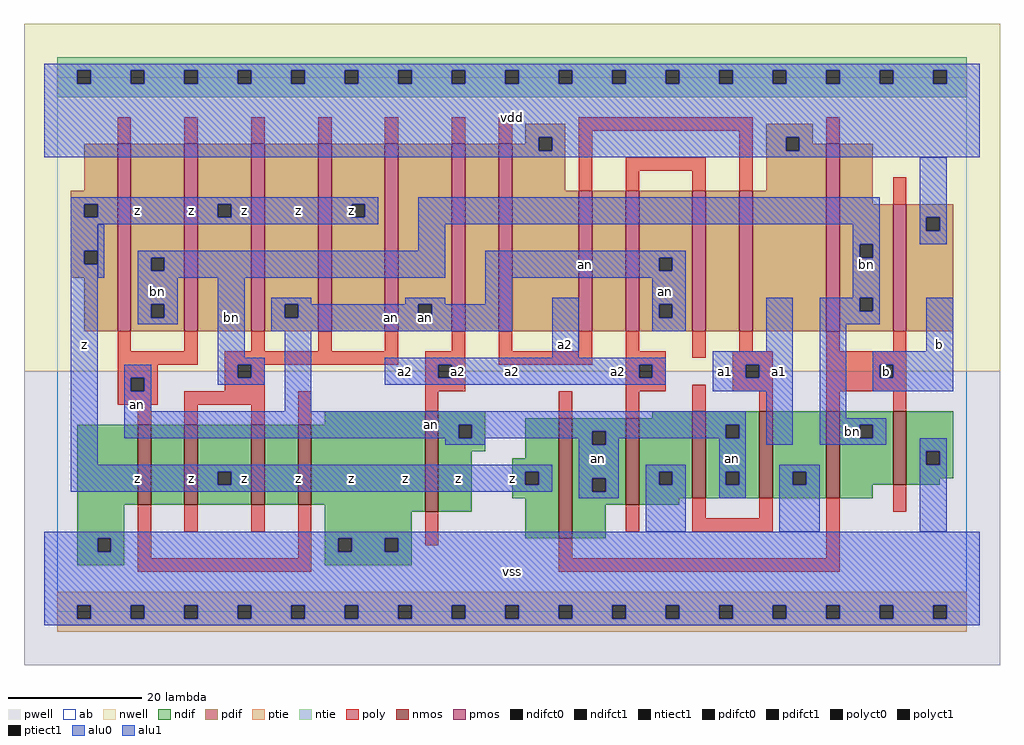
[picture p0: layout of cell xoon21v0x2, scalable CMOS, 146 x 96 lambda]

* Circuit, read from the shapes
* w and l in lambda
.subckt xoon21v0x2 a1 a2 an b bn vdd vss z
M1 n1 an vss vss nfet w=12 l=2
M2 z bn n1 vss nfet w=12 l=2
M3 n2 bn z vss nfet w=12 l=2
M4 vss an n2 vss nfet w=12 l=2
M5 an a2 vss vss nfet w=15 l=2
M6 an b z vss nfet w=18 l=2
M7 vss a2 an vss nfet w=13 l=2
M8 an a1 vss vss nfet w=13 l=2 m=2
M9 bn b vss vss nfet w=13 l=2
M10 vss b bn vss nfet w=11 l=2
M11 bn an z vdd pfet w=28 l=2 m=2
M12 an bn z vdd pfet w=28 l=2 m=3
M13 n3 a2 an vdd pfet w=28 l=2
M14 vdd a1 n3 vdd pfet w=28 l=2
M15 n4 a1 vdd vdd pfet w=21 l=2
M16 an a2 n4 vdd pfet w=21 l=2
M17 n5 a2 an vdd pfet w=21 l=2
M18 vdd a1 n5 vdd pfet w=21 l=2
M19 bn b vdd vdd pfet w=28 l=2
M20 vdd b bn vdd pfet w=19 l=2
.ends

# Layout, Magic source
magic
tech scmos
<< ab >>
rect 0 0 136 80
<< nwell >>
rect -5 36 141 88
<< pwell >>
rect -5 -8 141 36
<< poly >>
rect 9 70 11 74
rect 19 70 21 74
rect 29 70 31 74
rect 39 70 41 74
rect 49 70 51 74
rect 59 70 61 74
rect 66 70 68 74
rect 78 72 104 74
rect 78 63 80 72
rect 85 66 97 68
rect 85 63 87 66
rect 95 63 97 66
rect 102 63 104 72
rect 115 70 117 74
rect 125 61 127 65
rect 9 39 11 42
rect 19 39 21 42
rect 29 39 31 42
rect 39 39 41 42
rect 49 39 51 42
rect 59 39 61 42
rect 9 37 21 39
rect 25 37 51 39
rect 55 37 61 39
rect 66 39 68 42
rect 78 39 80 42
rect 66 37 80 39
rect 85 39 87 42
rect 85 37 91 39
rect 95 38 97 42
rect 102 39 104 42
rect 115 39 117 42
rect 125 39 127 42
rect 9 35 15 37
rect 9 33 11 35
rect 13 33 15 35
rect 25 35 27 37
rect 29 35 31 37
rect 25 33 31 35
rect 55 35 57 37
rect 59 35 61 37
rect 55 33 61 35
rect 85 35 87 37
rect 89 35 91 37
rect 85 33 91 35
rect 101 37 107 39
rect 101 35 103 37
rect 105 35 107 37
rect 9 31 15 33
rect 19 31 31 33
rect 12 28 14 31
rect 19 28 21 31
rect 29 28 31 31
rect 36 28 38 33
rect 55 30 57 33
rect 12 8 14 16
rect 19 12 21 16
rect 29 12 31 16
rect 36 8 38 16
rect 12 6 38 8
rect 75 29 77 33
rect 85 29 87 33
rect 95 30 97 34
rect 101 33 107 35
rect 105 30 107 33
rect 115 37 127 39
rect 115 35 123 37
rect 125 35 127 37
rect 115 33 127 35
rect 115 30 117 33
rect 125 30 127 33
rect 55 10 57 15
rect 85 12 87 16
rect 95 14 97 17
rect 105 14 107 17
rect 95 12 107 14
rect 75 8 77 11
rect 115 8 117 17
rect 125 15 127 19
rect 75 6 117 8
<< ndif >>
rect 40 28 55 30
rect 3 16 12 28
rect 14 16 19 28
rect 21 21 29 28
rect 21 19 24 21
rect 26 19 29 21
rect 21 16 29 19
rect 31 16 36 28
rect 38 16 55 28
rect 3 11 10 16
rect 3 9 6 11
rect 8 9 10 11
rect 3 7 10 9
rect 40 15 55 16
rect 57 28 64 30
rect 89 29 95 30
rect 57 26 60 28
rect 62 26 64 28
rect 57 24 64 26
rect 57 15 62 24
rect 70 23 75 29
rect 68 21 75 23
rect 68 19 70 21
rect 72 19 75 21
rect 68 17 75 19
rect 40 11 53 15
rect 40 9 42 11
rect 44 9 49 11
rect 51 9 53 11
rect 70 11 75 17
rect 77 27 85 29
rect 77 25 80 27
rect 82 25 85 27
rect 77 20 85 25
rect 77 18 80 20
rect 82 18 85 20
rect 77 16 85 18
rect 87 21 95 29
rect 87 19 90 21
rect 92 19 95 21
rect 87 17 95 19
rect 97 28 105 30
rect 97 26 100 28
rect 102 26 105 28
rect 97 21 105 26
rect 97 19 100 21
rect 102 19 105 21
rect 97 17 105 19
rect 107 21 115 30
rect 107 19 110 21
rect 112 19 115 21
rect 107 17 115 19
rect 117 28 125 30
rect 117 26 120 28
rect 122 26 125 28
rect 117 19 125 26
rect 127 24 134 30
rect 127 22 130 24
rect 132 22 134 24
rect 127 20 134 22
rect 127 19 132 20
rect 117 17 122 19
rect 87 16 93 17
rect 77 11 82 16
rect 40 7 53 9
<< pdif >>
rect 70 71 76 73
rect 70 70 72 71
rect 4 63 9 70
rect 2 61 9 63
rect 2 59 4 61
rect 6 59 9 61
rect 2 54 9 59
rect 2 52 4 54
rect 6 52 9 54
rect 2 50 9 52
rect 4 42 9 50
rect 11 53 19 70
rect 11 51 14 53
rect 16 51 19 53
rect 11 46 19 51
rect 11 44 14 46
rect 16 44 19 46
rect 11 42 19 44
rect 21 61 29 70
rect 21 59 24 61
rect 26 59 29 61
rect 21 42 29 59
rect 31 46 39 70
rect 31 44 34 46
rect 36 44 39 46
rect 31 42 39 44
rect 41 61 49 70
rect 41 59 44 61
rect 46 59 49 61
rect 41 42 49 59
rect 51 46 59 70
rect 51 44 54 46
rect 56 44 59 46
rect 51 42 59 44
rect 61 42 66 70
rect 68 69 72 70
rect 74 69 76 71
rect 68 63 76 69
rect 106 71 113 73
rect 106 69 109 71
rect 111 70 113 71
rect 111 69 115 70
rect 106 63 115 69
rect 68 42 78 63
rect 80 42 85 63
rect 87 53 95 63
rect 87 51 90 53
rect 92 51 95 53
rect 87 46 95 51
rect 87 44 90 46
rect 92 44 95 46
rect 87 42 95 44
rect 97 42 102 63
rect 104 42 115 63
rect 117 61 122 70
rect 117 55 125 61
rect 117 53 120 55
rect 122 53 125 55
rect 117 47 125 53
rect 117 45 120 47
rect 122 45 125 47
rect 117 42 125 45
rect 127 59 134 61
rect 127 57 130 59
rect 132 57 134 59
rect 127 42 134 57
<< alu1 >>
rect -2 81 138 82
rect -2 79 3 81
rect 5 79 11 81
rect 13 79 19 81
rect 21 79 27 81
rect 29 79 35 81
rect 37 79 43 81
rect 45 79 51 81
rect 53 79 59 81
rect 61 79 67 81
rect 69 79 75 81
rect 77 79 83 81
rect 85 79 91 81
rect 93 79 99 81
rect 101 79 107 81
rect 109 79 115 81
rect 117 79 123 81
rect 125 79 131 81
rect 133 79 138 81
rect -2 71 138 79
rect -2 69 72 71
rect 74 69 109 71
rect 111 69 138 71
rect -2 68 138 69
rect 2 61 48 62
rect 2 59 4 61
rect 6 59 24 61
rect 26 59 44 61
rect 46 59 48 61
rect 2 58 48 59
rect 2 54 6 58
rect 2 52 4 54
rect 2 22 6 52
rect 74 38 78 47
rect 106 39 110 47
rect 49 37 91 38
rect 49 35 57 37
rect 59 35 87 37
rect 89 35 91 37
rect 49 34 91 35
rect 98 37 110 39
rect 98 35 103 37
rect 105 35 110 37
rect 98 33 110 35
rect 2 21 74 22
rect 2 19 24 21
rect 26 19 70 21
rect 72 19 74 21
rect 2 18 74 19
rect 106 25 110 33
rect 130 39 134 47
rect 122 37 134 39
rect 122 35 123 37
rect 125 35 134 37
rect 122 33 134 35
rect -2 11 138 12
rect -2 9 6 11
rect 8 9 42 11
rect 44 9 49 11
rect 51 9 138 11
rect -2 1 138 9
rect -2 -1 3 1
rect 5 -1 11 1
rect 13 -1 19 1
rect 21 -1 27 1
rect 29 -1 35 1
rect 37 -1 43 1
rect 45 -1 51 1
rect 53 -1 59 1
rect 61 -1 67 1
rect 69 -1 75 1
rect 77 -1 83 1
rect 85 -1 91 1
rect 93 -1 99 1
rect 101 -1 107 1
rect 109 -1 115 1
rect 117 -1 123 1
rect 125 -1 131 1
rect 133 -1 138 1
rect -2 -2 138 -1
<< ptie >>
rect 0 1 136 3
rect 0 -1 3 1
rect 5 -1 11 1
rect 13 -1 19 1
rect 21 -1 27 1
rect 29 -1 35 1
rect 37 -1 43 1
rect 45 -1 51 1
rect 53 -1 59 1
rect 61 -1 67 1
rect 69 -1 75 1
rect 77 -1 83 1
rect 85 -1 91 1
rect 93 -1 99 1
rect 101 -1 107 1
rect 109 -1 115 1
rect 117 -1 123 1
rect 125 -1 131 1
rect 133 -1 136 1
rect 0 -3 136 -1
<< ntie >>
rect 0 81 136 83
rect 0 79 3 81
rect 5 79 11 81
rect 13 79 19 81
rect 21 79 27 81
rect 29 79 35 81
rect 37 79 43 81
rect 45 79 51 81
rect 53 79 59 81
rect 61 79 67 81
rect 69 79 75 81
rect 77 79 83 81
rect 85 79 91 81
rect 93 79 99 81
rect 101 79 107 81
rect 109 79 115 81
rect 117 79 123 81
rect 125 79 131 81
rect 133 79 136 81
rect 0 77 136 79
<< nmos >>
rect 12 16 14 28
rect 19 16 21 28
rect 29 16 31 28
rect 36 16 38 28
rect 55 15 57 30
rect 75 11 77 29
rect 85 16 87 29
rect 95 17 97 30
rect 105 17 107 30
rect 115 17 117 30
rect 125 19 127 30
<< pmos >>
rect 9 42 11 70
rect 19 42 21 70
rect 29 42 31 70
rect 39 42 41 70
rect 49 42 51 70
rect 59 42 61 70
rect 66 42 68 70
rect 78 42 80 63
rect 85 42 87 63
rect 95 42 97 63
rect 102 42 104 63
rect 115 42 117 70
rect 125 42 127 61
<< polyct0 >>
rect 11 33 13 35
rect 27 35 29 37
<< polyct1 >>
rect 57 35 59 37
rect 87 35 89 37
rect 103 35 105 37
rect 123 35 125 37
<< ndifct0 >>
rect 60 26 62 28
rect 80 25 82 27
rect 80 18 82 20
rect 90 19 92 21
rect 100 26 102 28
rect 100 19 102 21
rect 110 19 112 21
rect 120 26 122 28
rect 130 22 132 24
<< ndifct1 >>
rect 24 19 26 21
rect 6 9 8 11
rect 70 19 72 21
rect 42 9 44 11
rect 49 9 51 11
<< ntiect1 >>
rect 3 79 5 81
rect 11 79 13 81
rect 19 79 21 81
rect 27 79 29 81
rect 35 79 37 81
rect 43 79 45 81
rect 51 79 53 81
rect 59 79 61 81
rect 67 79 69 81
rect 75 79 77 81
rect 83 79 85 81
rect 91 79 93 81
rect 99 79 101 81
rect 107 79 109 81
rect 115 79 117 81
rect 123 79 125 81
rect 131 79 133 81
<< ptiect1 >>
rect 3 -1 5 1
rect 11 -1 13 1
rect 19 -1 21 1
rect 27 -1 29 1
rect 35 -1 37 1
rect 43 -1 45 1
rect 51 -1 53 1
rect 59 -1 61 1
rect 67 -1 69 1
rect 75 -1 77 1
rect 83 -1 85 1
rect 91 -1 93 1
rect 99 -1 101 1
rect 107 -1 109 1
rect 115 -1 117 1
rect 123 -1 125 1
rect 131 -1 133 1
<< pdifct0 >>
rect 14 51 16 53
rect 14 44 16 46
rect 34 44 36 46
rect 54 44 56 46
rect 90 51 92 53
rect 90 44 92 46
rect 120 53 122 55
rect 120 45 122 47
rect 130 57 132 59
<< pdifct1 >>
rect 4 59 6 61
rect 4 52 6 54
rect 24 59 26 61
rect 44 59 46 61
rect 72 69 74 71
rect 109 69 111 71
<< alu0 >>
rect 54 58 123 62
rect 6 50 7 58
rect 54 54 58 58
rect 119 55 123 58
rect 129 59 133 68
rect 129 57 130 59
rect 132 57 133 59
rect 129 55 133 57
rect 12 53 58 54
rect 12 51 14 53
rect 16 51 58 53
rect 12 50 58 51
rect 64 53 94 54
rect 64 51 90 53
rect 92 51 94 53
rect 64 50 94 51
rect 12 46 18 50
rect 12 44 14 46
rect 16 44 18 46
rect 12 43 18 44
rect 24 38 28 50
rect 32 46 38 47
rect 52 46 58 47
rect 64 46 68 50
rect 32 44 34 46
rect 36 44 54 46
rect 56 44 68 46
rect 32 42 68 44
rect 24 37 31 38
rect 10 35 14 37
rect 10 33 11 35
rect 13 33 14 35
rect 24 35 27 37
rect 29 35 31 37
rect 24 34 31 35
rect 10 30 14 33
rect 34 30 38 42
rect 89 46 94 50
rect 119 53 120 55
rect 122 53 123 55
rect 119 47 123 53
rect 89 44 90 46
rect 92 44 94 46
rect 89 42 94 44
rect 10 28 103 30
rect 10 26 60 28
rect 62 27 100 28
rect 62 26 80 27
rect 58 25 64 26
rect 78 25 80 26
rect 82 26 100 27
rect 102 26 103 28
rect 82 25 84 26
rect 78 20 84 25
rect 78 18 80 20
rect 82 18 84 20
rect 78 17 84 18
rect 88 21 94 22
rect 88 19 90 21
rect 92 19 94 21
rect 88 12 94 19
rect 99 21 103 26
rect 114 45 120 47
rect 122 45 123 47
rect 114 43 123 45
rect 114 29 118 43
rect 114 28 124 29
rect 114 26 120 28
rect 122 26 124 28
rect 114 25 124 26
rect 129 24 133 26
rect 129 22 130 24
rect 132 22 133 24
rect 99 19 100 21
rect 102 19 103 21
rect 99 17 103 19
rect 108 21 114 22
rect 108 19 110 21
rect 112 19 114 21
rect 108 12 114 19
rect 129 12 133 22
<< labels >>
rlabel alu0 12 31 12 31 6 an
rlabel alu0 15 48 15 48 6 bn
rlabel alu0 26 44 26 44 6 bn
rlabel alu0 55 44 55 44 6 an
rlabel alu0 50 44 50 44 6 an
rlabel alu0 81 23 81 23 6 an
rlabel alu0 56 28 56 28 6 an
rlabel alu0 101 23 101 23 6 an
rlabel alu0 91 48 91 48 6 an
rlabel alu0 79 52 79 52 6 an
rlabel alu0 119 27 119 27 6 bn
rlabel alu0 121 52 121 52 6 bn
rlabel alu1 12 20 12 20 6 z
rlabel alu1 20 20 20 20 6 z
rlabel alu1 28 20 28 20 6 z
rlabel alu1 4 40 4 40 6 z
rlabel alu1 12 60 12 60 6 z
rlabel alu1 20 60 20 60 6 z
rlabel alu1 28 60 28 60 6 z
rlabel alu1 44 20 44 20 6 z
rlabel alu1 52 20 52 20 6 z
rlabel alu1 60 20 60 20 6 z
rlabel alu1 36 20 36 20 6 z
rlabel alu1 60 36 60 36 6 a2
rlabel alu1 52 36 52 36 6 a2
rlabel alu1 44 60 44 60 6 z
rlabel alu1 36 60 36 60 6 z
rlabel alu1 68 6 68 6 6 vss
rlabel alu1 68 20 68 20 6 z
rlabel alu1 68 36 68 36 6 a2
rlabel alu1 100 36 100 36 6 a1
rlabel alu1 84 36 84 36 6 a2
rlabel alu1 76 40 76 40 6 a2
rlabel alu1 68 74 68 74 6 vdd
rlabel polyct1 124 36 124 36 6 b
rlabel alu1 108 36 108 36 6 a1
rlabel alu1 132 40 132 40 6 b
<< end >>
